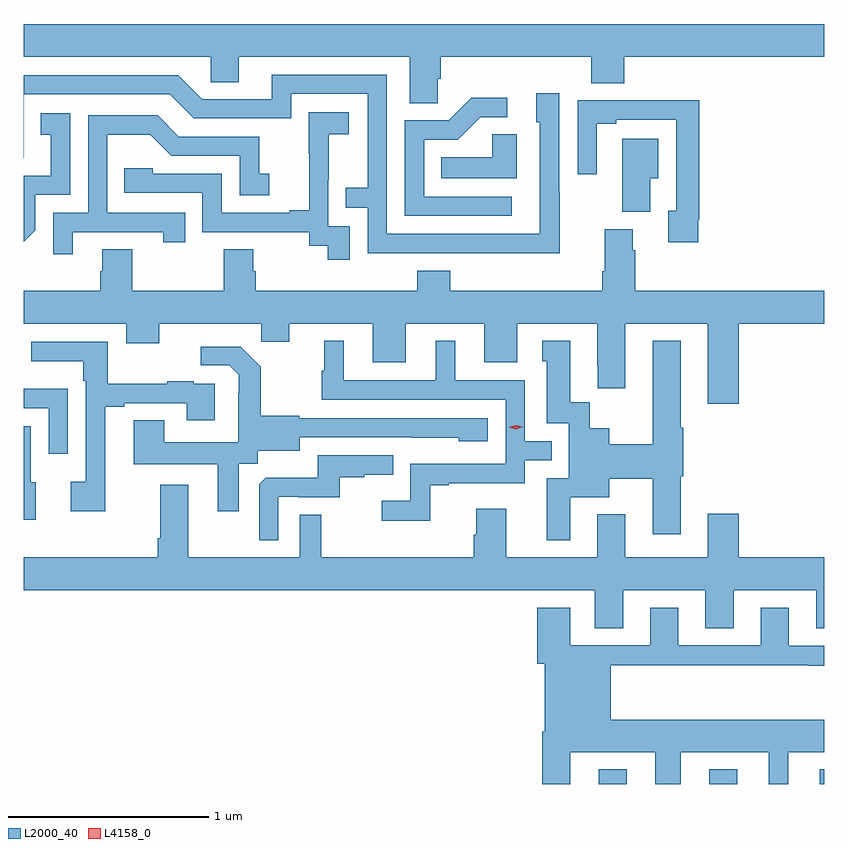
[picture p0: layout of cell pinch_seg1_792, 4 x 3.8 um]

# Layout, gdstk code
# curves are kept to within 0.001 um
import gdstk
lib = gdstk.Library(unit=1e-6, precision=1e-09)
def R(c, l, rs):  # rectangles x0, y0, x1, y1
    for r in rs: c.add(gdstk.rectangle(r[:2], r[2:], *l))
def P(c, l, *ps):  # polygons
    for p in ps: c.add(gdstk.Polygon(p, *l))
L2000_40 = (2000, 40)
L4158_0 = (4158, 0)

pinch_seg1_792 = lib.new_cell('pinch_seg1_792')
R(pinch_seg1_792, L2000_40, [(385.895,578.736,386.035,578.809), (386.447,578.736,386.587,578.809), (386.999,578.736,387.023,578.809)])
P(pinch_seg1_792, L2000_40, [(385.092,582.259),(385.106,582.259),(385.106,582.368),(385.859,582.368),(385.859,582.235),(386.024,582.235),(386.024,582.368),(387.023,582.368),(387.023,582.532),(383.023,582.532),(383.023,582.368),(383.958,582.368),(383.958,582.241),(384.097,582.241),(384.097,582.368),(384.953,582.368),(384.953,582.136),(385.092,582.136)],
  [(385.701,581.693),(385.698,581.693),(385.698,582.187),(385.583,582.187),(385.583,582.042),(385.602,582.042),(385.602,581.484),(384.837,581.484),(384.837,582.279),(384.263,582.279),(384.263,582.156),(383.916,582.156),(383.796,582.276),(383.023,582.276),(383.023,581.865),(383.025,581.865),(383.025,582.18),(383.754,582.18),(383.874,582.06),(384.36,582.06),(384.36,582.183),(384.741,582.183),(384.741,581.714),(384.631,581.714),(384.631,581.613),(384.741,581.613),(384.741,581.388),(385.701,581.387)],
  [(385.462,581.67),(385.023,581.67),(385.023,581.955),(385.192,581.955),(385.303,582.066),(385.438,582.066),(385.438,582.164),(385.259,582.164),(385.146,582.051),(384.927,582.051),(384.927,581.574),(385.462,581.574)],
  [(386.392,581.554),(386.399,581.554),(386.399,582.152),(386.107,582.152),(386.107,582.15),(385.791,582.15),(385.791,581.781),(385.887,581.781),(385.887,582.035),(385.984,582.035),(385.984,582.054),(386.283,582.054),(386.283,581.598),(386.243,581.598),(386.243,581.442),(386.392,581.442)],
  [(384.651,581.523),(384.546,581.523),(384.546,581.753),(384.548,581.753),(384.548,581.981),(384.646,581.981),(384.646,582.091),(384.448,582.091),(384.448,581.885),(384.449,581.885),(384.449,581.602),(384.353,581.602),(384.353,581.589),(384.012,581.589),(384.012,581.784),(383.667,581.784),(383.667,581.811),(383.527,581.811),(383.527,581.688),(383.916,581.688),(383.916,581.493),(384.45,581.493),(384.45,581.425),(384.543,581.425),(384.543,581.355),(384.651,581.355)],
  [(383.082,581.502),(383.082,581.679),(383.256,581.679),(383.256,582.085),(383.11,582.085),(383.11,581.979),(383.159,581.979),(383.159,581.775),(383.023,581.775),(383.023,581.444)],
  [(383.269,581.493),(383.72,581.493),(383.72,581.442),(383.831,581.442),(383.831,581.589),(383.442,581.589),(383.442,581.978),(383.656,581.978),(383.76,581.874),(384.102,581.874),(384.102,581.676),(384.25,581.676),(384.25,581.785),(384.201,581.785),(384.201,581.97),(383.797,581.97),(383.692,582.075),(383.346,582.075),(383.346,581.589),(383.172,581.589),(383.172,581.382),(383.269,581.382)],
  [(385.486,581.981),(385.365,581.981),(385.365,581.866),(385.108,581.866),(385.108,581.762),(385.486,581.762)],
  [(386.152,581.762),(386.194,581.762),(386.194,581.959),(386.012,581.959),(386.012,581.593),(386.152,581.593)],
  [(386.594,581.036),(387.023,581.036),(387.023,581.2),(386.078,581.2),(386.078,581.402),(386.065,581.402),(386.065,581.508),(385.925,581.508),(385.925,581.296),(385.913,581.296),(385.913,581.2),(385.154,581.2),(385.154,581.299),(384.989,581.299),(384.989,581.2),(384.182,581.2),(384.182,581.298),(384.169,581.298),(384.169,581.408),(384.022,581.408),(384.022,581.2),(383.565,581.2),(383.565,581.408),(383.417,581.408),(383.417,581.298),(383.405,581.298),(383.405,581.2),(383.023,581.2),(383.023,581.036),(383.537,581.036),(383.537,580.937),(383.701,580.937),(383.701,581.036),(384.211,581.036),(384.211,580.946),(384.349,580.946),(384.349,581.036),(384.767,581.036),(384.767,580.842),(384.931,580.842),(384.931,581.036),(385.325,581.036),(385.325,580.842),(385.489,580.842),(385.489,581.036),(385.889,581.036),(385.889,580.825),(385.892,580.825),(385.892,580.713),(386.029,580.713),(386.029,581.036),(386.441,581.036),(386.441,580.635),(386.594,580.635)],
  [(385.753,580.169),(385.948,580.169),(385.948,580.261),(386.165,580.261),(386.165,579.984),(386.305,579.984),(386.305,580.272),(386.318,580.272),(386.318,580.516),(386.305,580.516),(386.305,580.951),(386.165,580.951),(386.165,580.433),(385.948,580.433),(385.948,580.513),(385.851,580.513),(385.851,580.643),(385.753,580.643),(385.753,580.951),(385.613,580.951),(385.613,580.848),(385.637,580.848),(385.637,580.539),(385.746,580.539),(385.746,580.263),(385.637,580.263),(385.637,579.954),(385.753,579.954)],
  [(385.053,580.227),(385.147,580.227),(385.147,580.239),(385.527,580.239),(385.527,580.353),(385.66,580.353),(385.66,580.449),(385.527,580.449),(385.527,580.752),(385.18,580.752),(385.18,580.951),(385.082,580.951),(385.082,580.752),(384.622,580.752),(384.622,580.951),(384.524,580.951),(384.524,580.8),(384.513,580.8),(384.513,580.656),(385.431,580.656),(385.431,580.335),(384.954,580.335),(384.954,580.15),(384.813,580.15),(384.813,580.052),(385.053,580.052)],
  [(383.431,580.62),(383.527,580.62),(383.527,580.638),(383.837,580.638),(383.837,580.554),(383.977,580.554),(383.977,580.734),(383.873,580.734),(383.873,580.747),(383.741,580.747),(383.741,580.736),(383.443,580.736),(383.443,580.944),(383.061,580.944),(383.061,580.847),(383.322,580.847),(383.322,580.751),(383.334,580.751),(383.334,580.246),(383.259,580.246),(383.259,580.098),(383.431,580.098)],
  [(384.097,580.336),(384.192,580.336),(384.192,580.4),(384.403,580.4),(384.403,580.467),(385.197,580.466),(385.197,580.448),(385.342,580.448),(385.342,580.563),(384.399,580.563),(384.399,580.576),(384.207,580.576),(384.207,580.821),(384.107,580.921),(383.907,580.921),(383.907,580.827),(384.051,580.827),(384.098,580.78),(384.098,580.685),(384.096,580.685),(384.096,580.444),(383.725,580.444),(383.725,580.553),(383.573,580.553),(383.573,580.334),(383.993,580.334),(383.993,580.098),(384.097,580.098)],
  [(383.244,580.711),(383.023,580.711),(383.023,580.614),(383.148,580.614),(383.148,580.386),(383.244,580.386)],
  [(383.083,580.242),(383.058,580.242),(383.058,580.524),(383.023,580.524),(383.023,580.055),(383.083,580.055)],
  [(384.294,580.17),(384.394,580.17),(384.394,580.167),(384.602,580.167),(384.602,580.269),(384.725,580.269),(384.725,580.28),(384.869,580.28),(384.869,580.377),(384.492,580.377),(384.492,580.265),(384.233,580.265),(384.201,580.233),(384.201,579.953),(384.294,579.953)],
  [(386.017,579.704),(386.429,579.704),(386.429,579.514),(386.569,579.514),(386.569,579.704),(386.981,579.704),(386.981,579.514),(387.023,579.514),(387.023,579.868),(386.594,579.868),(386.594,580.087),(386.441,580.087),(386.441,579.868),(386.029,579.868),(386.029,580.084),(385.889,580.084),(385.889,579.868),(385.435,579.868),(385.435,580.111),(385.283,580.111),(385.283,579.981),(385.271,579.981),(385.271,579.868),(384.511,579.868),(384.511,580.082),(384.402,580.082),(384.402,579.868),(383.845,579.868),(383.845,580.231),(383.705,580.231),(383.705,579.964),(383.693,579.964),(383.693,579.868),(383.023,579.868),(383.023,579.704),(385.877,579.704),(385.877,579.514),(386.017,579.514)],
  [(385.753,578.894),(386.177,578.894),(386.177,578.736),(386.305,578.736),(386.305,578.894),(386.744,578.894),(386.744,578.736),(386.842,578.736),(386.842,578.894),(387.023,578.894),(387.023,579.058),(385.957,579.058),(385.957,579.328),(386.941,579.328),(386.941,579.326),(387.023,579.326),(387.023,579.426),(386.845,579.426),(386.845,579.616),(386.705,579.616),(386.705,579.429),(386.293,579.429),(386.293,579.616),(386.153,579.616),(386.153,579.429),(385.753,579.429),(385.753,579.616),(385.589,579.616),(385.589,579.336),(385.625,579.336),(385.625,578.998),(385.613,578.998),(385.613,578.736),(385.753,578.736)])
P(pinch_seg1_792, L4158_0, [(385.482,580.509),(385.447,580.517),(385.446,580.517),(385.447,580.517),(385.481,580.529),(385.516,580.521),(385.516,580.521),(385.516,580.521)])

lib.write_gds('pinch_seg1_792.gds')
